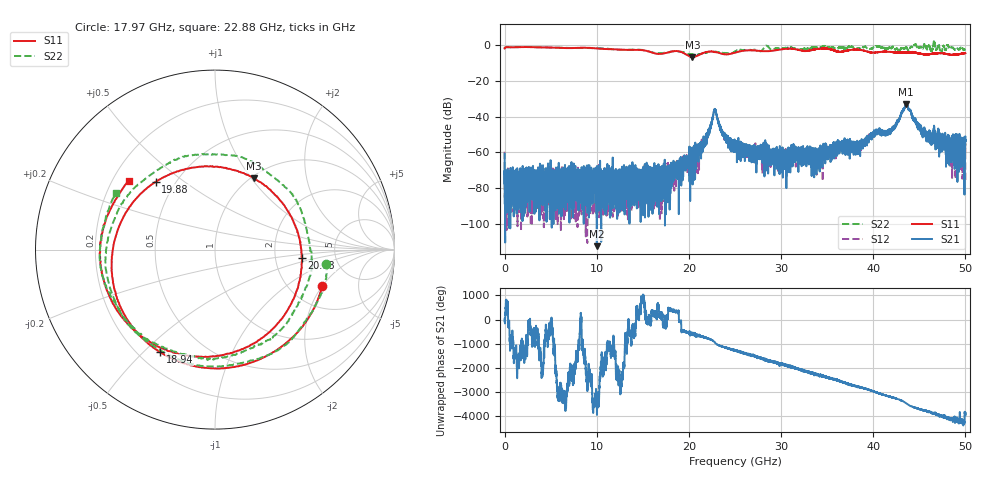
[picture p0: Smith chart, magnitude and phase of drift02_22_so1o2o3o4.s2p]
!Created with skrf (http://scikit-rf.org).
# Hz S RI R 50.0
!freq ReS11 ImS11 ReS21 ImS21 ReS12 ImS12 ReS22 ImS22
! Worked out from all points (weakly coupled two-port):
!   10001 points, 300 kHz to 50 GHz, reference 50 ohm
!   highest |S21| = -33.01 dB at 43.58 GHz (marker M1); lowest = -112.1 dB at 10.01 GHz (marker M2)
!   lowest |S11| = -6.9 dB at 20.38 GHz (marker M3), VSWR 2.64, Z = 51.5 + j51.3 ohm
!   |S11| at or under -10 dB: nowhere
!   |S22| runs from -5.7 to 2.3 dB; largest |S21 - S12| = 0.0028
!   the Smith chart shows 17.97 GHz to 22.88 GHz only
!   S11 on the Smith chart (normalised r, x): 17.97 GHz: 2.95, -1.99; 18.94 GHz: 0.29, -0.56; 19.88 GHz: 0.39, +0.40; 20.88 GHz: 2.85, -0.34; 22.88 GHz: 0.27, +0.33
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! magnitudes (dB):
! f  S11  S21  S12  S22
! 300 kHz  -2.1  -60.7  -59.6  -2.0
! 300.3 MHz  -1.4  -73.4  -87.7  -1.4
! 8.335 GHz  -1.7  -74.5  -75.7  -1.9
! 10.01 GHz  -2.1  -112.1  -79.4  -2.0
! 16.67 GHz  -5.2  -74.8  -74.6  -4.7
! 17.97 GHz  -4.0  -71.8  -66.9  -4.1
! 18.94 GHz  -3.8  -70.1  -66.5  -3.9
! 19.88 GHz  -6.0  -63.5  -66.0  -5.1
! 20.38 GHz  -6.9  -69.0  -62.2  -5.4
! 20.88 GHz  -6.3  -58.8  -60.5  -5.6
! 22.88 GHz  -4.2  -36.6  -36.3  -3.9
! 23.78 GHz  -5.3  -49.8  -50.1  -4.7
! 25 GHz  -4.5  -56.8  -57.3  -3.9
! 29.56 GHz  -3.0  -61.6  -61.6  -2.1
! 33.34 GHz  -3.0  -64.4  -58.0  -1.5
! 38.33 GHz  -2.8  -56.1  -56.9  -2.1
! 40.29 GHz  -4.4  -49.5  -49.1  -0.9
! 41.67 GHz  -4.0  -48.4  -47.5  -1.8
! 43.58 GHz  -4.6  -33.0  -33.5  -1.4
! 45.59 GHz  -5.4  -48.5  -48.3  0.4
! 49.68 GHz  -5.0  -63.6  -61.4  -2.0
! 50 GHz  -4.7  -53.3  -75.9  -2.7
